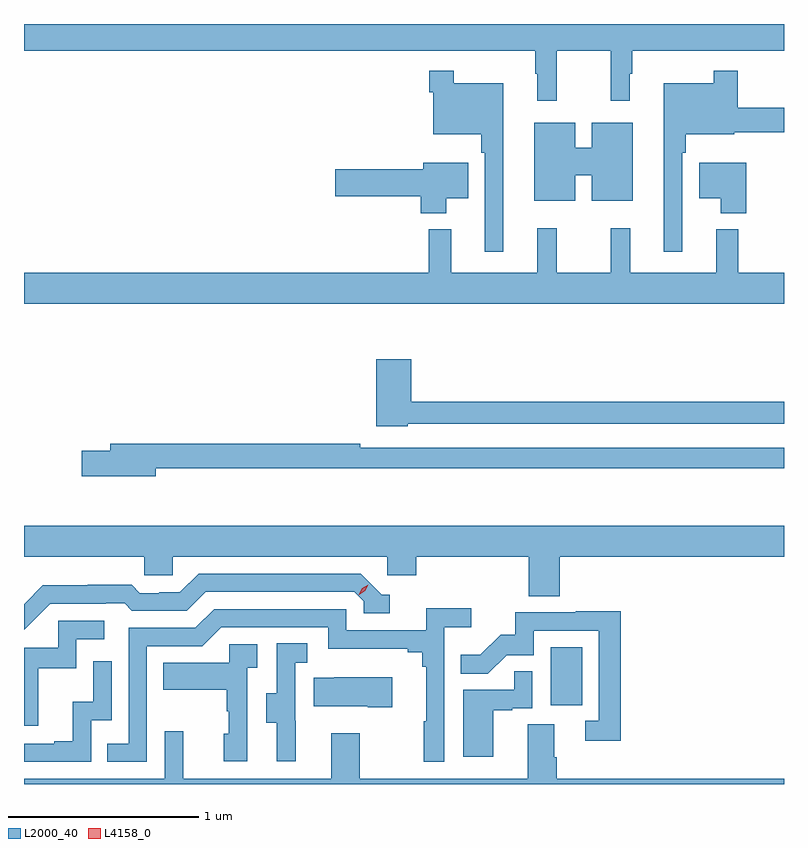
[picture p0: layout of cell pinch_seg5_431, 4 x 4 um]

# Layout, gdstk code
import gdstk
lib = gdstk.Library(unit=1e-6, precision=1e-09)
def R(c, l, rs):  # rectangles x0, y0, x1, y1
    for r in rs: c.add(gdstk.rectangle(r[:2], r[2:], *l))
def P(c, l, *ps):  # polygons
    for p in ps: c.add(gdstk.Polygon(p, *l))
L2000_40 = (2000, 40)
L4158_0 = (4158, 0)

pinch_seg5_431 = lib.new_cell('pinch_seg5_431')
R(pinch_seg5_431, L2000_40, [(936.59,870.63,936.754,870.937)])
P(pinch_seg5_431, L2000_40, [(933.817,874.076),(936.507,874.076),(936.507,873.953),(936.518,873.953),(936.518,873.813),(936.62,873.813),(936.62,874.076),(936.904,874.076),(936.904,873.813),(937.006,873.813),(937.006,873.953),(937.018,873.953),(937.018,874.076),(937.817,874.076),(937.817,874.216),(933.817,874.216)],
  [(937.281,873.539),(937.301,873.539),(937.301,873.635),(937.555,873.635),(937.555,873.646),(937.817,873.646),(937.817,873.775),(937.574,873.775),(937.574,873.97),(937.446,873.97),(937.446,873.904),(937.184,873.904),(937.184,873.018),(937.281,873.018)],
  [(936.34,873.904),(936.079,873.904),(936.079,873.97),(935.95,873.97),(935.95,873.857),(935.97,873.857),(935.97,873.635),(936.223,873.635),(936.223,873.539),(936.243,873.539),(936.243,873.018),(936.34,873.018)],
  [(936.718,873.419),(936.806,873.419),(936.806,873.287),(937.021,873.287),(937.021,873.697),(936.806,873.697),(936.806,873.566),(936.718,873.566),(936.718,873.697),(936.503,873.697),(936.503,873.287),(936.718,873.287)],
  [(936.04,873.299),(936.154,873.299),(936.154,873.487),(935.918,873.487),(935.918,873.452),(935.454,873.452),(935.454,873.31),(935.906,873.31),(935.906,873.221),(936.04,873.221)],
  [(937.619,873.487),(937.37,873.487),(937.37,873.299),(937.484,873.299),(937.484,873.221),(937.619,873.221)],
  [(937.817,872.908),(937.577,872.908),(937.577,873.136),(937.46,873.136),(937.46,872.908),(937.007,872.908),(937.007,873.142),(936.904,873.142),(936.904,872.908),(936.62,872.908),(936.62,873.142),(936.518,873.142),(936.518,872.908),(936.065,872.908),(936.065,873.136),(935.947,873.136),(935.947,872.908),(933.817,872.908),(933.817,872.744),(937.817,872.744)],
  [(935.838,872.112),(937.817,872.112),(937.817,872.228),(935.855,872.228),(935.855,872.452),(935.672,872.452),(935.672,872.099),(935.838,872.099)],
  [(934.51,871.878),(937.817,871.878),(937.817,871.986),(935.588,871.986),(935.588,872.006),(934.271,872.006),(934.271,871.97),(934.122,871.97),(934.122,871.835),(934.51,871.835)],
  [(936.638,871.412),(937.817,871.412),(937.817,871.576),(933.817,871.576),(933.817,871.412),(934.449,871.412),(934.449,871.314),(934.599,871.314),(934.599,871.412),(935.73,871.412),(935.73,871.314),(935.882,871.314),(935.882,871.412),(936.473,871.412),(936.473,871.204),(936.638,871.204)],
  [(933.954,871.164),(934.247,871.164),(934.247,871.167),(934.346,871.167),(934.385,871.128),(934.674,871.128),(934.773,871.227),(935.556,871.227),(935.604,871.179),(935.604,871.116),(935.743,871.116),(935.743,871.212),(935.7,871.212),(935.589,871.323),(934.736,871.323),(934.637,871.224),(934.53,871.224),(934.53,871.221),(934.427,871.221),(934.385,871.264),(934.152,871.264),(934.152,871.261),(933.916,871.261),(933.817,871.162),(933.817,871.027)],
  [(934.464,870.942),(934.755,870.942),(934.854,871.041),(935.418,871.041),(935.418,870.929),(935.837,870.929),(935.837,870.91),(935.914,870.91),(935.914,870.833),(935.933,870.833),(935.933,870.545),(935.922,870.545),(935.922,870.333),(936.03,870.333),(936.03,871.04),(936.172,871.04),(936.172,871.142),(935.933,871.142),(935.933,871.026),(935.514,871.026),(935.514,871.137),(934.817,871.137),(934.718,871.038),(934.368,871.038),(934.368,870.429),(934.255,870.429),(934.255,870.333),(934.464,870.333)],
  [(936.959,871.124),(936.721,871.124),(936.721,871.119),(936.403,871.119),(936.403,871.002),(936.326,871.002),(936.219,870.895),(936.115,870.895),(936.115,870.796),(936.259,870.796),(936.357,870.894),(936.501,870.894),(936.501,871.023),(936.843,871.023),(936.843,870.549),(936.771,870.549),(936.771,870.444),(936.959,870.444)],
  [(933.893,870.825),(934.092,870.825),(934.092,870.978),(934.24,870.978),(934.24,871.074),(933.996,871.074),(933.996,870.933),(933.817,870.933),(933.817,870.522),(933.893,870.522)],
  [(935.246,870.549),(935.244,870.549),(935.244,870.853),(935.308,870.853),(935.308,870.956),(935.148,870.956),(935.148,870.693),(935.093,870.693),(935.093,870.538),(935.147,870.538),(935.147,870.336),(935.246,870.336)],
  [(934.992,870.827),(935.044,870.827),(935.044,870.951),(934.896,870.951),(934.896,870.853),(934.549,870.853),(934.549,870.713),(934.884,870.713),(934.884,870.599),(934.894,870.599),(934.894,870.48),(934.868,870.48),(934.868,870.336),(934.992,870.336)],
  [(934.17,870.552),(934.278,870.552),(934.278,870.862),(934.182,870.862),(934.182,870.65),(934.073,870.65),(934.073,870.442),(933.977,870.442),(933.977,870.429),(933.817,870.429),(933.817,870.333),(934.17,870.333)],
  [(936.286,870.603),(936.386,870.603),(936.386,870.615),(936.492,870.615),(936.492,870.809),(936.397,870.809),(936.397,870.711),(936.128,870.711),(936.128,870.36),(936.286,870.36)],
  [(935.755,870.778),(935.449,870.778),(935.449,870.775),(935.341,870.775),(935.341,870.626),(935.627,870.626),(935.627,870.619),(935.755,870.619)],
  [(937.817,870.244),(936.62,870.244),(936.62,870.356),(936.607,870.356),(936.607,870.53),(936.467,870.53),(936.467,870.244),(935.583,870.244),(935.583,870.484),(935.435,870.484),(935.435,870.244),(934.655,870.244),(934.655,870.493),(934.557,870.493),(934.557,870.244),(933.817,870.244),(933.817,870.216),(937.817,870.216)])
P(pinch_seg5_431, L4158_0, [(935.58,871.212),(935.58,871.213),(935.597,871.245),(935.628,871.264),(935.628,871.264),(935.628,871.264),(935.612,871.232),(935.581,871.212)])

lib.write_gds('pinch_seg5_431.gds')
